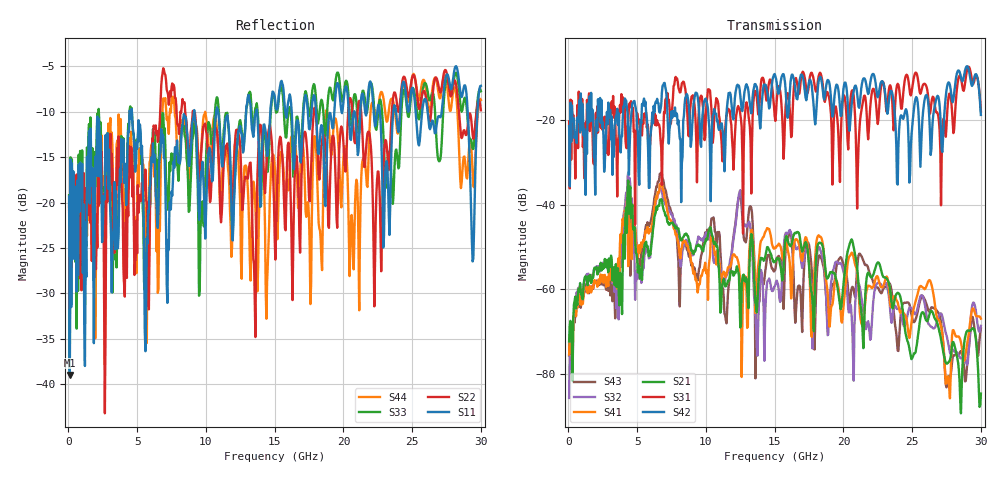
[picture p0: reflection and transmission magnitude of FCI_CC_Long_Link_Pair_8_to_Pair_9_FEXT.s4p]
! FCI USA LLC
! FCI_CC_Long_Link_Pair_8_to_Pair_9_FEXT.s4p
! PART DESCRIPTION: FCI Connector Concept 0.70 m Simulated Channel Model
! FREQUENCY RANGE: 50 MHz to 30 GHz in 50 MHz frequency steps
! PORT DEFINITIONS:
! Port  1  ----->  TX  Pin K4(Side A) -- Pin A5(Side B)  RX  <-----  Port  2
! Port  3  ----->  TX  Pin L4(Side A) -- Pin B5(Side B)  RX  <-----  Port  4
! Information
! FCI endeavors to use its reasonable efforts to place accurate and
! up-to-date information in this Touchstone file.  However, this file is
! provided on an as is basis.  FCI GIVES NO WARRANTY, EXPRESS OR
! IMPLIED, WITH RESPECT TO ANY INFORMATION PROVIDED IN THIS FILE,
! INCLUDING BUT NOT LIMITED TO THE IMPLIED WARRANTIES OF
! MERCHANTABILITY, FITNESS FOR A PARTICULAR PURPOSE OR NON-INFRINGEMENT.
! FCI SHALL NOT BE LIABLE FOR ANY DIRECT, SPECIAL, INDIRECT,
! CONSEQUENTIAL, PUNITIVE OR OTHER DAMAGES BASED ON USE OF THIS FILE.
#	Hz	S	RI	R	50
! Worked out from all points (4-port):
!   600 points, 50 MHz to 30 GHz, reference 50 ohm
!   strongest paths, dB at 50 MHz, 7.55 GHz, 15.05 GHz, 22.55 GHz, 30 GHz:
!     S42: -21.4, -19.4, -9.5, -14.1, -18.7
!     S31: -20.3, -17.1, -20.2, -19.7, -17.9
!     S21: -72.3, -44.2, -53.4, -53.7, -84.7
!     S41: -75.4, -44.1, -50.2, -57.6, -67.0
!     S32: -85.7, -42.3, -59.0, -58.5, -68.6
!     S43: -75.6, -42.1, -55.3, -59.8, -69.3
!   lowest |S11| = -39.0 dB at 100 MHz (marker M1), VSWR 1.02, Z = 51.1 - j0.105 ohm
!   |S11| at or under -10 dB: start of sweep to 4.448 GHz; 4.612 GHz to 9.137 GHz (4.525 GHz wide, 65.8 % of centre); 10.89 GHz to 12.93 GHz (2.036 GHz wide, 17.1 % of centre)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
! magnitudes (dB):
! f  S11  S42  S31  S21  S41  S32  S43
! 50 MHz  -19.3  -21.4  -20.3  -72.3  -75.4  -85.7  -75.6
! 100 MHz  -39.0  -35.7  -36.1  -68.5  -71.1  -76.9  -71.8
! 6.75 GHz  -11.9  -16.4  -26.5  -38.7  -35.0  -36.2  -32.4
! 11.45 GHz  -10.7  -22.2  -20.1  -59.3  -57.0  -57.2  -67.3
! 12.45 GHz  -11.6  -12.6  -17.3  -62.2  -56.5  -36.9  -38.0
! 13.7 GHz  -9.7  -12.1  -14.6  -65.5  -59.2  -73.4  -59.5
! 30 GHz  -7.1  -18.7  -17.9  -84.7  -67.0  -68.6  -69.3
